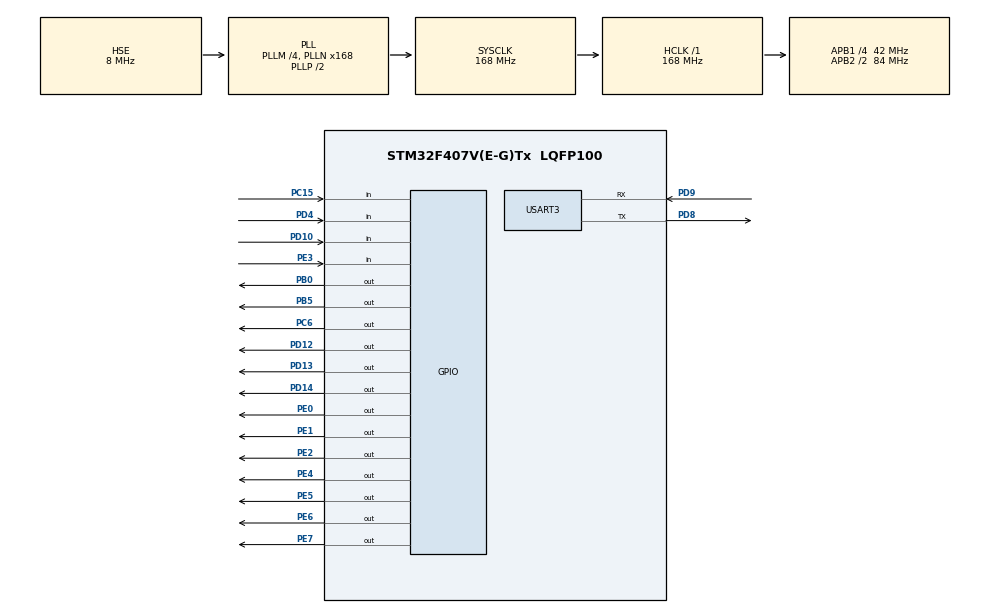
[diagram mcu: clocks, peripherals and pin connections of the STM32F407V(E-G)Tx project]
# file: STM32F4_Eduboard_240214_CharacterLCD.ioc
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Mcu.Family=STM32F4
Mcu.Name=STM32F407V(E-G)Tx
Mcu.Package=LQFP100
NVIC.PriorityGroup=NVIC_PRIORITYGROUP_4
NVIC.USART3_IRQn=true\:0\:0\:false\:true\:true\:1\:true\:true\:true
PB0.Signal=GPIO_Output
PB5.Signal=GPIO_Output
PC15-OSC32_OUT.Signal=GPIO_Input
PC6.Signal=GPIO_Output
PD10.Signal=GPIO_Input
PD12.Signal=GPIO_Output
PD13.Signal=GPIO_Output
PD14.Signal=GPIO_Output
PD4.Signal=GPIO_Input
PD8.Mode=Asynchronous
PD8.Signal=USART3_TX
PD9.Mode=Asynchronous
PD9.Signal=USART3_RX
PE0.Signal=GPIO_Output
PE1.Signal=GPIO_Output
PE2.Signal=GPIO_Output
PE3.Signal=GPIO_Input
PE4.Signal=GPIO_Output
PE5.Signal=GPIO_Output
PE6.Signal=GPIO_Output
PE7.Signal=GPIO_Output
PH0-OSC_IN.Mode=HSE-External-Oscillator
PH0-OSC_IN.Signal=RCC_OSC_IN
PH1-OSC_OUT.Mode=HSE-External-Oscillator
PH1-OSC_OUT.Signal=RCC_OSC_OUT
ProjectManager.HeapSize=0x200
ProjectManager.StackSize=0x400
ProjectManager.TargetToolchain=STM32CubeIDE
RCC.48MHZClocksFreq_Value=84000000
RCC.AHBFreq_Value=168000000
RCC.APB1CLKDivider=RCC_HCLK_DIV4
RCC.APB1Freq_Value=42000000
RCC.APB1TimFreq_Value=84000000
RCC.APB2CLKDivider=RCC_HCLK_DIV2
RCC.APB2Freq_Value=84000000
RCC.APB2TimFreq_Value=168000000
RCC.CortexFreq_Value=168000000
RCC.HCLKFreq_Value=168000000
RCC.HSE_VALUE=8000000
RCC.HSI_VALUE=16000000
RCC.LSE_VALUE=32768
RCC.PLLM=4
RCC.PLLN=168
RCC.PLLSourceVirtual=RCC_PLLSOURCE_HSE
RCC.SYSCLKFreq_VALUE=168000000
RCC.SYSCLKSource=RCC_SYSCLKSOURCE_PLLCLK
RCC.VCOOutputFreq_Value=336000000
USART3.VirtualMode=VM_ASYNC
board=custom

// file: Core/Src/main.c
/* USER CODE BEGIN Header */
/**
  ******************************************************************************
  * @file           : main.c
  * @brief          : Main program body
  ******************************************************************************
  * @attention
  *
  * Copyright (c) 2024 STMicroelectronics.
  * All rights reserved.
  *
  * This software is licensed under terms that can be found in the LICENSE file
  * in the root directory of this software component.
  * If no LICENSE file comes with this software, it is provided AS-IS.
  *
  ******************************************************************************
  */
/* USER CODE END Header */
#include "main.h"
#include "usart.h"
#include "gpio.h"

/* USER CODE BEGIN Includes */
#include "CLCD.h"
#include <stdio.h>
/* USER CODE END Includes */

/* USER CODE BEGIN PV */
uint8_t rx3_data;
/* USER CODE END PV */

void SystemClock_Config(void);
static void MX_NVIC_Init(void);
/* USER CODE BEGIN PFP */
int _write(int file, char* p, int len) /* printf redirection output */
{
  HAL_UART_Transmit(&huart3, p, len, 10);
  return len;
}
/* USER CODE END PFP */

int main(void)
{

  /* MCU Configuration--------------------------------------------------------*/

  /* Reset of all peripherals, Initializes the Flash interface and the Systick. */
  HAL_Init();

  /* Configure the system clock */
  SystemClock_Config();

  /* Initialize all configured peripherals */
  MX_GPIO_Init();
  MX_USART3_UART_Init();

  /* Initialize interrupts */
  MX_NVIC_Init();
  /* USER CODE BEGIN 2 */
  HAL_GPIO_WritePin(GPIOC, GPIO_PIN_6, GPIO_PIN_SET);  /* Red off (Right LED) */
  HAL_GPIO_WritePin(GPIOB, GPIO_PIN_0, GPIO_PIN_SET);  /* Green off (Right LED) */
  HAL_GPIO_WritePin(GPIOB, GPIO_PIN_5, GPIO_PIN_SET);  /* Blue off (Right LED) */

  HAL_GPIO_WritePin(GPIOD, GPIO_PIN_12, GPIO_PIN_SET);  /* Red off (Left LED) */
  HAL_GPIO_WritePin(GPIOD, GPIO_PIN_13, GPIO_PIN_SET);  /* Green off (Left LED) */
  HAL_GPIO_WritePin(GPIOD, GPIO_PIN_14, GPIO_PIN_SET);  /* Blue off (Left LED) */

  HAL_UART_Receive_IT(&huart3, &rx3_data, 1); /* Enable the specified UART interrupt (Must call that function once) */

  CLCD_GPIO_Init();
  CLCD_Init();       /* Init + Clear LCD */
  CLCD_Clear();

  CLCD_Puts(0, 0, "Hello");
  CLCD_Puts(0, 1, "World");
  /* USER CODE END 2 */

  /* Infinite loop */
  /* USER CODE BEGIN WHILE */
  uint8_t a = 0;
  float f = 1.234;
  uint8_t str[20];

  while (1)
  {
    sprintf(str, "%d", a++);
    CLCD_Puts(0, 0, str);
    HAL_Delay(1000);
    /* USER CODE END WHILE */

  }
}

void SystemClock_Config(void)
{
  RCC_OscInitTypeDef RCC_OscInitStruct = {0};
  RCC_ClkInitTypeDef RCC_ClkInitStruct = {0};

  /** Configure the main internal regulator output voltage
  */
  __HAL_RCC_PWR_CLK_ENABLE();
  __HAL_PWR_VOLTAGESCALING_CONFIG(PWR_REGULATOR_VOLTAGE_SCALE1);

  /** Initializes the RCC Oscillators according to the specified parameters
  * in the RCC_OscInitTypeDef structure.
  */
  RCC_OscInitStruct.OscillatorType = RCC_OSCILLATORTYPE_HSE;
  RCC_OscInitStruct.HSEState = RCC_HSE_ON;
  RCC_OscInitStruct.PLL.PLLState = RCC_PLL_ON;
  RCC_OscInitStruct.PLL.PLLSource = RCC_PLLSOURCE_HSE;
  RCC_OscInitStruct.PLL.PLLM = 4;
  RCC_OscInitStruct.PLL.PLLN = 168;
  RCC_OscInitStruct.PLL.PLLP = RCC_PLLP_DIV2;
  RCC_OscInitStruct.PLL.PLLQ = 4;
  if (HAL_RCC_OscConfig(&RCC_OscInitStruct) != HAL_OK)
  {
    Error_Handler();
  }

  /** Initializes the CPU, AHB and APB buses clocks
  */
  RCC_ClkInitStruct.ClockType = RCC_CLOCKTYPE_HCLK|RCC_CLOCKTYPE_SYSCLK
                              |RCC_CLOCKTYPE_PCLK1|RCC_CLOCKTYPE_PCLK2;
  RCC_ClkInitStruct.SYSCLKSource = RCC_SYSCLKSOURCE_PLLCLK;
  RCC_ClkInitStruct.AHBCLKDivider = RCC_SYSCLK_DIV1;
  RCC_ClkInitStruct.APB1CLKDivider = RCC_HCLK_DIV4;
  RCC_ClkInitStruct.APB2CLKDivider = RCC_HCLK_DIV2;

  if (HAL_RCC_ClockConfig(&RCC_ClkInitStruct, FLASH_LATENCY_5) != HAL_OK)
  {
    Error_Handler();
  }
}

/**
  * @brief NVIC Configuration.
  * @retval None
  */
static void MX_NVIC_Init(void)
{
  /* USART3_IRQn interrupt configuration */
  HAL_NVIC_SetPriority(USART3_IRQn, 0, 0);
  HAL_NVIC_EnableIRQ(USART3_IRQn);
}

/* USER CODE BEGIN 4 */
void HAL_UART_RxCpltCallback(UART_HandleTypeDef *huart)
{
  if (huart->Instance == USART3)
  {
    HAL_UART_Receive_IT(&huart3, &rx3_data, 1);
    HAL_UART_Transmit(&huart3, &rx3_data, 1, 10);
  }
}
/* USER CODE END 4 */

void Error_Handler(void)
{
  __disable_irq();
  while (1)
  {
  }
}
